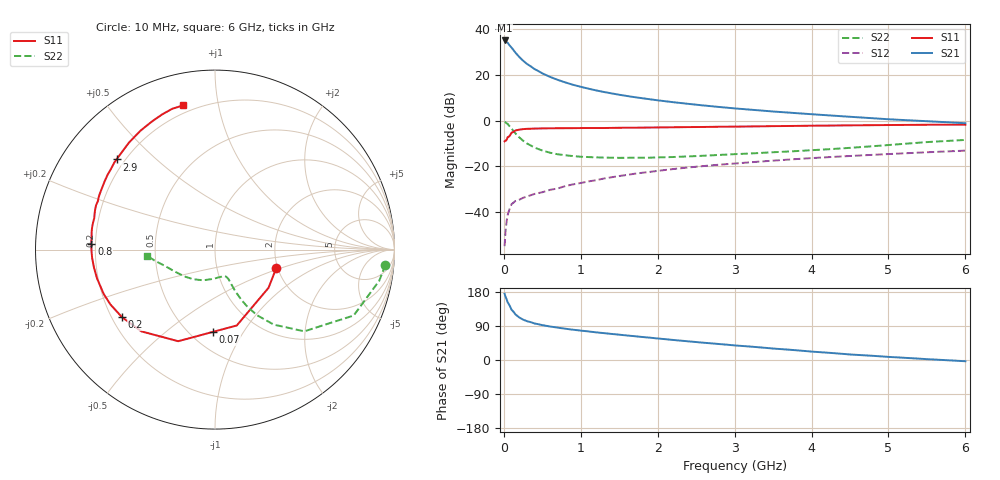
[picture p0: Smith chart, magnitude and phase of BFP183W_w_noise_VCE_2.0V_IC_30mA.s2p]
! Infineon Technologies  Discrete & RF Semiconductors
! BFP183W
! VCE =  2.0 V,  IC =  30 mA
! Common Emitter S-Parameters:  Jan 2017
# GHz  S  MA  R  50
!  f  S11  S21  S12  S22
! GHz  MAG  ANG  MAG  ANG  MAG  ANG  MAG  ANG
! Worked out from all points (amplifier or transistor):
!   77 points, 10 MHz to 6 GHz, reference 50 ohm
!   highest |S21| = 35.2 dB at 10 MHz (marker M1)
!   |S21| within 3 dB of that: start of sweep to 96.26 MHz
!   unconditionally stable (mu >= 1): 749.8 MHz to 3.704 GHz
!   at 130 MHz: K = 0.33, MSG = 33.2 dB, |S12| = -35.7 dB
!   at 2.2 GHz: K = 1.09, MAG = 12.9 dB, |S12| = -21.1 dB
!   at 6 GHz: K = 0.89, MSG = 6.0 dB, |S12| = -13.1 dB
!   lowest NFmin = 1.39 dB at 450 MHz
!   S11 on the Smith chart (normalised r, x): 10 MHz: 1.96, -0.47; 70 MHz: 0.64, -0.75; 200 MHz: 0.24, -0.31; 800 MHz: 0.18, +0.02; 2.9 GHz: 0.17, +0.38; 6 GHz: 0.16, +0.79
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0.01  0.3562 -17.1  57.49 174.8  0.0018 91.0  0.953 -5.2
0.02  0.3665 -35.5  56.48 168.2  0.0035 88.1  0.9315 -10.7
0.05  0.4399 -74.0  51.15 152.2  0.0087 67.0  0.8556 -25.4
0.07  0.4579 -91.2  46.09 145.5  0.0111 61.6  0.7757 -31.2
0.1  0.55 -111.9  40.05 132.6  0.0149 56.8  0.6752 -42.4
0.15  0.6132 -132.0  31.24 120.5  0.0175 47.9  0.5316 -51.9
0.2  0.6403 -143.9  25.06 112.3  0.0187 46.7  0.4349 -57.3
0.25  0.658 -152.3  20.77 106.6  0.0206 45.8  0.3675 -60.4
0.3  0.6675 -158.2  17.65 102.5  0.022 46.6  0.3193 -62.2
0.4  0.6767 -166.3  13.56 96.3  0.0251 49.6  0.2583 -64.0
0.5  0.6818 -171.7  10.95 92.0  0.0273 51.3  0.2234 -64.6
0.6  0.6861 -176.1  9.181 88.4  0.0308 52.6  0.2004 -65.1
0.7  0.6882 -179.4  7.885 85.4  0.033 56.6  0.1851 -65.3
0.8  0.6897 177.3  6.924 82.5  0.0373 58.3  0.1761 -65.8
1.1  0.6958 169.8  5.057 75.4  0.0471 60.5  0.1609 -68.4
1.5  0.7037 161.7  3.721 66.8  0.0618 62.1  0.1546 -74.9
2.1  0.7187 150.4  2.684 54.9  0.084 61.2  0.1596 -89.2
2.9  0.7439 137.5  1.939 40.4  0.1128 57.5  0.1824 -111.4
3.1  0.7492 134.5  1.814 37.0  0.1197 56.3  0.1892 -116.7
4.1  0.7839 120.9  1.359 20.8  0.156 50.2  0.2323 -141.9
5.1  0.8107 110.4  1.061 7.1  0.1905 43.6  0.3039 -163.9
6  0.8227 102.5  0.886 -3.3  0.2224 37.0  0.3817 -175.0
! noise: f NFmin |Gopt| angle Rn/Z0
0.45  1.39  0.27  180  0.1
0.9  1.43  0.3  -178  0.09
1.9  1.92  0.45  -156  0.1
2.4  2.17  0.5  -152  0.15
